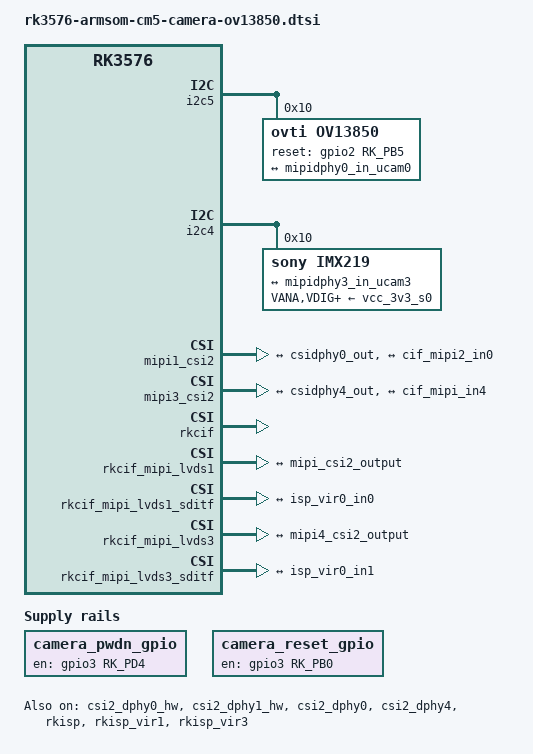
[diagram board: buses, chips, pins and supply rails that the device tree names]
/ {
	camera_pwdn_gpio: camera-pwdn-gpio {
		status = "okay";
		compatible = "regulator-fixed";
		regulator-name = "camera_pwdn_gpio";
		regulator-always-on;
		regulator-boot-on;
		enable-active-high;
		gpio = <&gpio3 RK_PD4 GPIO_ACTIVE_HIGH>;
		pinctrl-names = "default";
		pinctrl-0 = <&cam_pwdn_gpio>;
	};

	camera_reset_gpio: camera-pwdn-gpio {
		status = "okay";
		compatible = "regulator-fixed";
		regulator-name = "camera_reset_gpio";
		regulator-always-on;
		regulator-boot-on;
		enable-active-high;
		gpio = <&gpio3 RK_PB0 GPIO_ACTIVE_HIGH>;
		pinctrl-names = "default";
		pinctrl-0 = <&cam_reset_gpio>;
	};
};
&i2c5 {//J12
	status = "okay";
	pinctrl-names = "default";
	pinctrl-0 = <&i2c5m3_xfer>;
	ov13850: ov13850@10{
		status = "okay";
		compatible = "ovti,ov13850";
		reg = <0x10>;
		clocks = <&cru CLK_MIPI_CAMERAOUT_M1>;
		clock-names = "xvclk";
		pinctrl-names = "default";
		pinctrl-0 = <&cam_clk1m0_clk1>;
		//pwdn-gpios = <&gpio3 RK_PB0 GPIO_ACTIVE_HIGH>;
		reset-gpios = <&gpio2 RK_PB5 GPIO_ACTIVE_HIGH>;
		rockchip,camera-module-index = <0>;
		rockchip,camera-module-facing = "back";
		rockchip,camera-module-name = "ZC-OV13850R2A-V1";
		rockchip,camera-module-lens-name = "Largan-50064B31";
		port {
			ov13850_out0: endpoint {
				remote-endpoint = <&mipidphy0_in_ucam0>;
				data-lanes = <1 2 3 4>;
			};
		};
	};
};

&i2c4 {//J25
	status = "okay";
	pinctrl-names = "default";
	pinctrl-0 = <&i2c4m3_xfer>;
	imx219: imx219@10 {
		status = "okay";
		compatible = "sony,imx219";
		reg = <0x10>;
		clocks = <&cru CLK_MIPI_CAMERAOUT_M1>;
		clock-names = "xvclk";
		pinctrl-names = "rockchip,camera_default";
		pinctrl-0 = <&cam_clk1m1_clk1>;
		VANA-supply = <&vcc_3v3_s0>;   /* 2.8v */
        VDIG-supply = <&vcc_3v3_s0>;   /* 1.8v */
        VDDL-supply = <&vcc_3v3_s0>;   /* 1.2v */

		//pwdn-gpios = <&gpio3 RK_PD4 GPIO_ACTIVE_HIGH>;
		//reset-gpios = <&gpio3 RK_PD4 GPIO_ACTIVE_HIGH>;
		rockchip,camera-module-index = <1>;
		rockchip,camera-module-facing = "front";
		rockchip,camera-module-name = "default";
		rockchip,camera-module-lens-name = "default";
		port {
			imx219_out: endpoint {
				remote-endpoint = <&mipidphy3_in_ucam3>;
				data-lanes = <1 2>;
				clock-noncontinuous;
                link-frequencies = /bits/ 64 <456000000>;
			};
		};
	};

};

&csi2_dphy0_hw {
	status = "okay";
};

&csi2_dphy1_hw {
	status = "okay";
};

&csi2_dphy0 {
	status = "okay";

	ports {
		#address-cells = <1>;
		#size-cells = <0>;

		port@0 {
			reg = <0>;
			#address-cells = <1>;
			#size-cells = <0>;

			mipidphy0_in_ucam0: endpoint@1 {
				reg = <1>;
				remote-endpoint = <&ov13850_out0>;
				data-lanes = <1 2 3 4>;
			};

		};

		port@1 {
			reg = <1>;
			#address-cells = <1>;
			#size-cells = <0>;

			csidphy0_out: endpoint@0 {
				reg = <0>;
				remote-endpoint = <&mipi2_csi2_input>;
			};
		};
	};
};

&csi2_dphy4 {
	status = "okay";

	ports {
		#address-cells = <1>;
		#size-cells = <0>;

		port@0 {
			reg = <0>;
			#address-cells = <1>;
			#size-cells = <0>;

			mipidphy3_in_ucam3: endpoint@1 {
				reg = <1>;
				remote-endpoint = <&imx219_out>;
				data-lanes = <1 2>;
			};

		};

		port@1 {
			reg = <1>;
			#address-cells = <1>;
			#size-cells = <0>;

			csidphy4_out: endpoint@0 {
				reg = <0>;
				remote-endpoint = <&mipi4_csi2_input>;
			};
		};
	};
};

&mipi1_csi2 {
	status = "okay";

	ports {
		#address-cells = <1>;
		#size-cells = <0>;

		port@0 {
			reg = <0>;
			#address-cells = <1>;
			#size-cells = <0>;

			mipi2_csi2_input: endpoint@1 {
				reg = <1>;
				remote-endpoint = <&csidphy0_out>;
			};
		};

		port@1 {
			reg = <1>;
			#address-cells = <1>;
			#size-cells = <0>;

			mipi_csi2_output: endpoint@0 {
				reg = <0>;
				remote-endpoint = <&cif_mipi2_in0>;
			};
		};
	};
};

&mipi3_csi2 {
	status = "okay";

	ports {
		#address-cells = <1>;
		#size-cells = <0>;

		port@0 {
			reg = <0>;
			#address-cells = <1>;
			#size-cells = <0>;

			mipi4_csi2_input: endpoint@1 {
				reg = <1>;
				remote-endpoint = <&csidphy4_out>;
			};
		};

		port@1 {
			reg = <1>;
			#address-cells = <1>;
			#size-cells = <0>;

			mipi4_csi2_output: endpoint@0 {
				reg = <0>;
				remote-endpoint = <&cif_mipi_in4>;
			};
		};
	};
};

&rkcif {
	status = "okay";
};

&rkcif_mipi_lvds1 {
	status = "okay";

	port {
		cif_mipi2_in0: endpoint {
			remote-endpoint = <&mipi_csi2_output>;
		};
	};
};

&rkcif_mipi_lvds1_sditf {
	status = "okay";

	port {
		mipi_lvds1_sditf: endpoint {
			remote-endpoint = <&isp_vir0_in0>;
		};
	};
};

&rkcif_mipi_lvds3 {
	status = "okay";

	port {
		cif_mipi_in4: endpoint {
			remote-endpoint = <&mipi4_csi2_output>;
		};
	};
};

&rkcif_mipi_lvds3_sditf {
	status = "okay";

	port {
		mipi_lvds3_sditf: endpoint {
			remote-endpoint = <&isp_vir0_in1>;
		};
	};
};

&rkcif_mmu {
	status = "okay";
};

&rkisp {
	status = "okay";
};

&rkisp_mmu {
	status = "okay";
};

&rkisp_vir1 {
	status = "okay";

	port {
		#address-cells = <1>;
		#size-cells = <0>;

		isp_vir0_in0: endpoint@0 {
			reg = <0>;
			remote-endpoint = <&mipi_lvds1_sditf>;
		};
	};
};

&rkisp_vir3 {
	status = "okay";

	port {
		#address-cells = <1>;
		#size-cells = <0>;

		isp_vir0_in1: endpoint@0 {
			reg = <0>;
			remote-endpoint = <&mipi_lvds3_sditf>;
		};
	};
};

&pinctrl {
	camera {
		cam_pwdn_gpio: cam-pwdn-gpio {
			rockchip,pins = <3 RK_PD4 RK_FUNC_GPIO &pcfg_pull_up>;
		};
		cam_reset_gpio: cam-reset-gpio {
			rockchip,pins = <3 RK_PB0 RK_FUNC_GPIO &pcfg_pull_up>;
		};
	};
};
